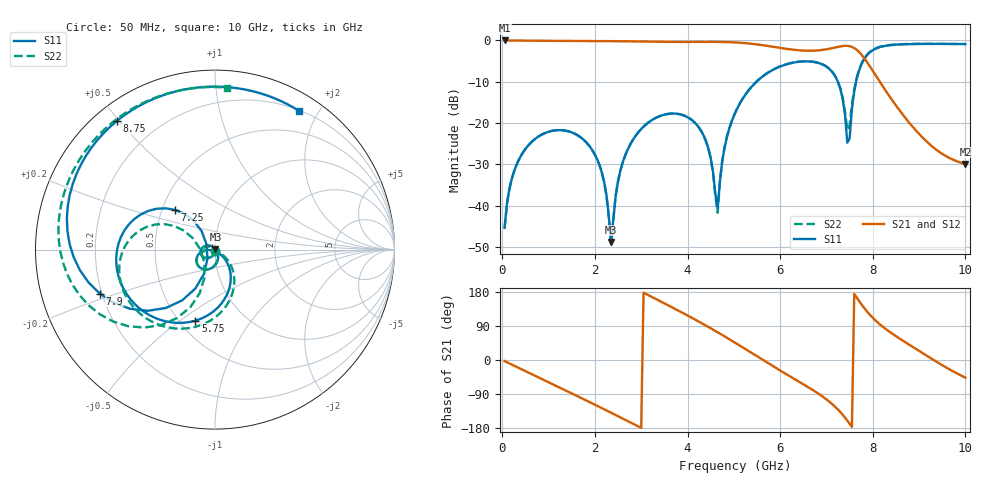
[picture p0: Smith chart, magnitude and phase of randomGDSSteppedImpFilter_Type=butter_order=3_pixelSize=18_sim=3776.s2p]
! freq	dB(S11)	phase(S11)	dB(S12)	phase(S12)
!  dB(S21)	phase(S21)	dB(S22)	phase(S22)
!S-par simulation data
#  GHz  S  DB  R 50
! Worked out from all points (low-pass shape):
!   200 points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, 50 MHz to 10 GHz, reference 50 ohm
!   highest |S21| = -0.01 dB at 50 MHz (marker M1); lowest = -29.9 dB at 10 GHz (marker M2)
!   |S21| within 3 dB of the highest: start of sweep to 7.721 GHz
!   lowest |S11| = -48.8 dB at 2.35 GHz (marker M3), VSWR 1.01, Z = 50.3 + j0.258 ohm
!   |S11| at or under -10 dB: start of sweep to 5.49 GHz; 7.246 GHz to 7.64 GHz (394.2 MHz wide, 5.3 % of centre)
!   |S22| runs from -49.8 to -0.8 dB; largest |S21 - S12| = 0
!   S11 on the Smith chart (normalised r, x): 50 MHz: 1.00, -0.01; 5.75 GHz: 0.60, -0.57; 7.25 GHz: 0.59, +0.29; 7.9 GHz: 0.19, -0.18; 8.75 GHz: 0.06, +0.49; 10 GHz: 0.21, +1.75
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0.05  -45.37 -88.3  -0.01 -3.0  -0.01 -3.0  -45.37 -88.3
0.2  -33.71 -100.9  -0.02 -11.8  -0.02 -11.8  -33.70 -100.5
0.55  -25.57 -123.1  -0.06 -32.4  -0.06 -32.4  -25.57 -122.0
1.75  -23.98 163.4  -0.14 -103.0  -0.14 -103.0  -23.99 168.9
2.15  -31.99 134.4  -0.16 -127.0  -0.16 -127.0  -32.04 149.4
2.35  -48.82 45.2  -0.17 -139.2  -0.17 -139.2  -49.82 -143.7
2.45  -37.52 -42.0  -0.18 -145.3  -0.18 -145.3  -37.51 -67.8
2.65  -27.96 -64.2  -0.20 -157.6  -0.20 -157.6  -27.94 -71.3
3.4  -18.33 -114.2  -0.32 155.8  -0.32 155.8  -18.32 -113.6
4.3  -22.02 -170.0  -0.36 97.5  -0.36 97.5  -22.06 -167.1
4.65  -40.73 -91.4  -0.36 73.2  -0.36 73.2  -41.72 -80.9
4.8  -25.90 -41.4  -0.39 62.4  -0.39 62.4  -25.84 -34.8
5.05  -17.02 -53.9  -0.49 43.8  -0.49 43.8  -16.97 -47.5
5.75  -7.73 -105.5  -1.37 -9.2  -1.37 -9.2  -7.69 -97.2
6.7  -5.17 -175.8  -2.49 -78.7  -2.49 -78.7  -5.14 -163.4
7.25  -10.09 135.1  -1.56 -130.9  -1.56 -130.9  -10.02 153.3
7.45  -24.77 146.4  -1.31 -159.8  -1.31 -159.8  -21.63 178.1
7.65  -9.45 -122.9  -2.24 165.2  -2.24 165.2  -9.15 -113.2
7.9  -3.26 -159.1  -5.64 124.4  -5.64 124.4  -3.15 -144.9
8.35  -1.18 155.2  -13.36 75.5  -13.36 75.5  -1.12 173.1
8.75  -0.90 127.4  -19.41 43.2  -19.41 43.2  -0.86 147.9
10  -0.88 58.8  -29.94 -46.5  -29.94 -46.5  -0.87 85.7
